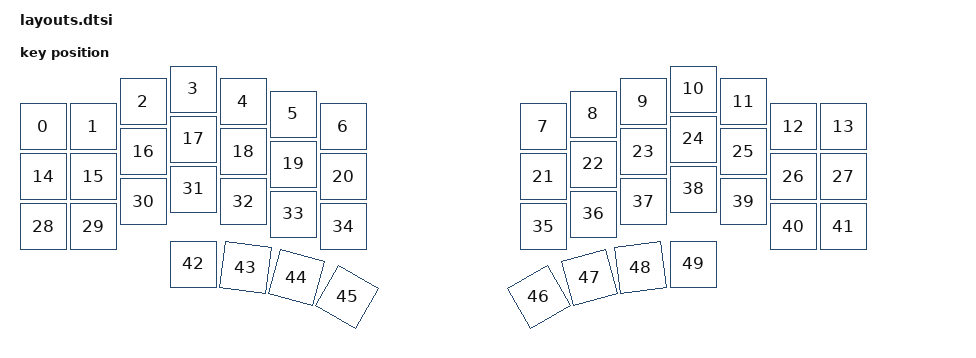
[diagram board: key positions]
#include <physical_layouts.dtsi>

/ {
    physical_layout0: physical_layout_0 {
        compatible = "zmk,physical-layout";
        display-name = "LAYOUT";

        kscan = <&kscan0>;
        transform = <&default_transform>;

        keys  //                     w   h    x    y     rot    rx    ry
            = <&key_physical_attrs 100 100    0   75       0     0     0>
            , <&key_physical_attrs 100 100  100   75       0     0     0>
            , <&key_physical_attrs 100 100  200   25       0     0     0>
            , <&key_physical_attrs 100 100  300    0       0     0     0>
            , <&key_physical_attrs 100 100  400   25       0     0     0>
            , <&key_physical_attrs 100 100  500   50       0     0     0>
            , <&key_physical_attrs 100 100  600   75       0     0     0>
            , <&key_physical_attrs 100 100 1000   75       0     0     0>
            , <&key_physical_attrs 100 100 1100   50       0     0     0>
            , <&key_physical_attrs 100 100 1200   25       0     0     0>
            , <&key_physical_attrs 100 100 1300    0       0     0     0>
            , <&key_physical_attrs 100 100 1400   25       0     0     0>
            , <&key_physical_attrs 100 100 1500   75       0     0     0>
            , <&key_physical_attrs 100 100 1600   75       0     0     0>
            , <&key_physical_attrs 100 100    0  175       0     0     0>
            , <&key_physical_attrs 100 100  100  175       0     0     0>
            , <&key_physical_attrs 100 100  200  125       0     0     0>
            , <&key_physical_attrs 100 100  300  100       0     0     0>
            , <&key_physical_attrs 100 100  400  125       0     0     0>
            , <&key_physical_attrs 100 100  500  150       0     0     0>
            , <&key_physical_attrs 100 100  600  175       0     0     0>
            , <&key_physical_attrs 100 100 1000  175       0     0     0>
            , <&key_physical_attrs 100 100 1100  150       0     0     0>
            , <&key_physical_attrs 100 100 1200  125       0     0     0>
            , <&key_physical_attrs 100 100 1300  100       0     0     0>
            , <&key_physical_attrs 100 100 1400  125       0     0     0>
            , <&key_physical_attrs 100 100 1500  175       0     0     0>
            , <&key_physical_attrs 100 100 1600  175       0     0     0>
            , <&key_physical_attrs 100 100    0  275       0     0     0>
            , <&key_physical_attrs 100 100  100  275       0     0     0>
            , <&key_physical_attrs 100 100  200  225       0     0     0>
            , <&key_physical_attrs 100 100  300  200       0     0     0>
            , <&key_physical_attrs 100 100  400  225       0     0     0>
            , <&key_physical_attrs 100 100  500  250       0     0     0>
            , <&key_physical_attrs 100 100  600  275       0     0     0>
            , <&key_physical_attrs 100 100 1000  275       0     0     0>
            , <&key_physical_attrs 100 100 1100  250       0     0     0>
            , <&key_physical_attrs 100 100 1200  225       0     0     0>
            , <&key_physical_attrs 100 100 1300  200       0     0     0>
            , <&key_physical_attrs 100 100 1400  225       0     0     0>
            , <&key_physical_attrs 100 100 1500  275       0     0     0>
            , <&key_physical_attrs 100 100 1600  275       0     0     0>
            , <&key_physical_attrs 100 100  300  350       0     0     0>
            , <&key_physical_attrs 100 100  300  350     750   350  1200>
            , <&key_physical_attrs 100 100  300  350    1500   350  1200>
            , <&key_physical_attrs 100 100  200  360    3000   350  1200>
            , <&key_physical_attrs 100 100 1400  360 (-3000)  1350  1200>
            , <&key_physical_attrs 100 100 1300  350 (-1500)  1350  1200>
            , <&key_physical_attrs 100 100 1300  350  (-750)  1350  1200>
            , <&key_physical_attrs 100 100 1300  350       0     0     0>
            ;
    };
};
